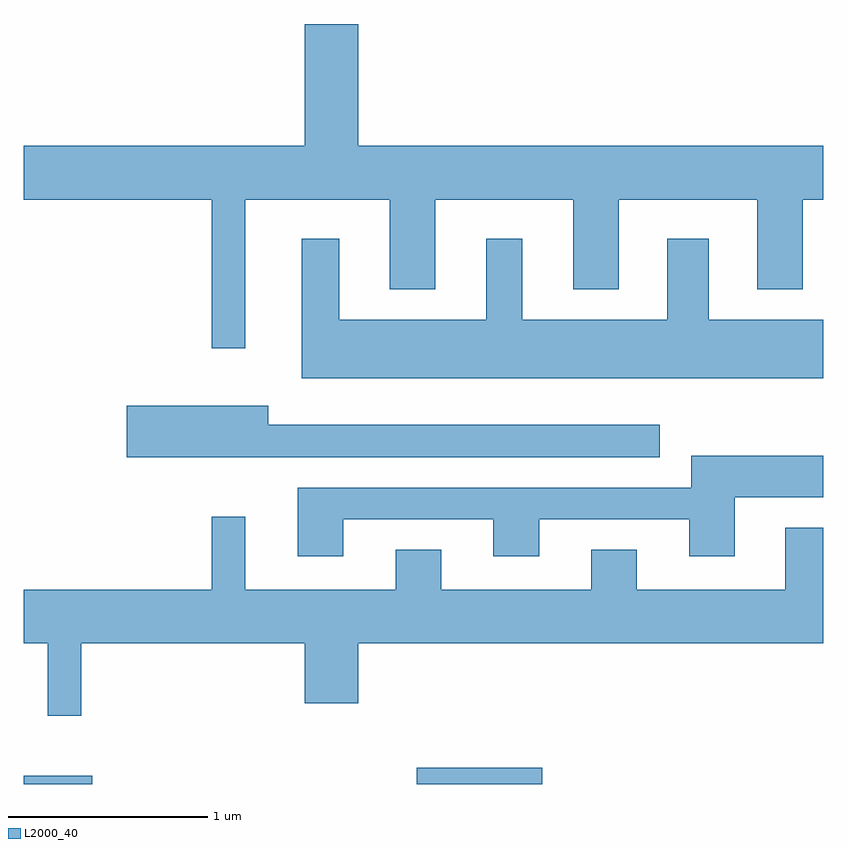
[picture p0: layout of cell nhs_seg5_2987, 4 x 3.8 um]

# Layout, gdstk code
import gdstk
lib = gdstk.Library(unit=1e-6, precision=1e-09)
def R(c, l, rs):  # rectangles x0, y0, x1, y1
    for r in rs: c.add(gdstk.rectangle(r[:2], r[2:], *l))
def P(c, l, *ps):  # polygons
    for p in ps: c.add(gdstk.Polygon(p, *l))
L2000_40 = (2000, 40)

nhs_seg5_2987 = lib.new_cell('nhs_seg5_2987')
R(nhs_seg5_2987, L2000_40, [(273.611,1476.072,273.954,1476.114), (275.576,1476.072,276.204,1476.154)])
P(nhs_seg5_2987, L2000_40, [(274.719,1478.996),(275.441,1478.996),(275.441,1478.546),(275.669,1478.546),(275.669,1478.996),(276.361,1478.996),(276.361,1478.546),(276.589,1478.546),(276.589,1478.996),(277.281,1478.996),(277.281,1478.546),(277.509,1478.546),(277.509,1478.996),(277.611,1478.996),(277.611,1479.264),(275.284,1479.264),(275.284,1479.874),(275.016,1479.874),(275.016,1479.264),(273.611,1479.264),(273.611,1478.996),(274.551,1478.996),(274.551,1478.253),(274.719,1478.253)],
  [(277.611,1478.394),(277.039,1478.394),(277.039,1478.799),(276.831,1478.799),(276.831,1478.394),(276.104,1478.394),(276.104,1478.799),(275.926,1478.799),(275.926,1478.394),(275.189,1478.394),(275.189,1478.799),(275.001,1478.799),(275.001,1478.101),(277.611,1478.101)],
  [(276.793,1477.869),(274.834,1477.869),(274.834,1477.964),(274.126,1477.964),(274.126,1477.706),(276.793,1477.706)],
  [(275.209,1477.396),(275.961,1477.396),(275.961,1477.211),(276.189,1477.211),(276.189,1477.396),(276.941,1477.396),(276.941,1477.211),(277.169,1477.211),(277.169,1477.506),(277.611,1477.506),(277.611,1477.714),(276.951,1477.714),(276.951,1477.554),(274.981,1477.554),(274.981,1477.211),(275.209,1477.211)],
  [(273.899,1476.776),(275.016,1476.776),(275.016,1476.476),(275.284,1476.476),(275.284,1476.776),(277.611,1476.776),(277.611,1477.354),(277.421,1477.354),(277.421,1477.044),(276.679,1477.044),(276.679,1477.244),(276.451,1477.244),(276.451,1477.044),(275.699,1477.044),(275.699,1477.244),(275.471,1477.244),(275.471,1477.044),(274.719,1477.044),(274.719,1477.408),(274.551,1477.408),(274.551,1477.044),(273.611,1477.044),(273.611,1476.776),(273.731,1476.776),(273.731,1476.413),(273.899,1476.413)])

lib.write_gds('nhs_seg5_2987.gds')
